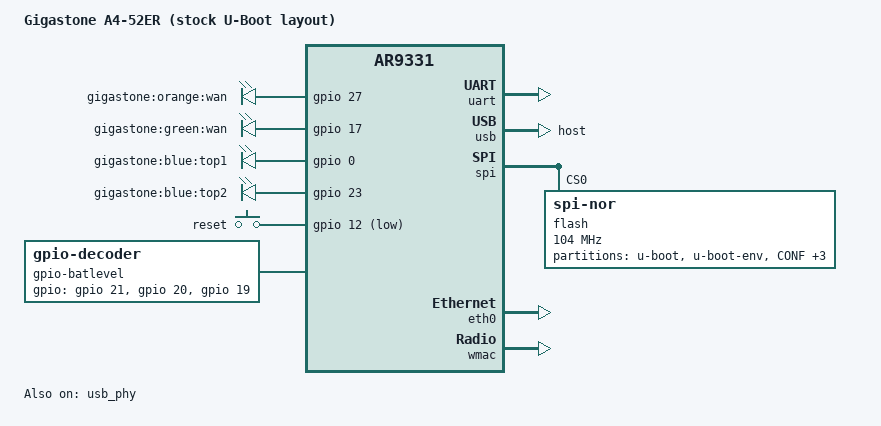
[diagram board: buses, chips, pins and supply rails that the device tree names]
// SPDX-License-Identifier: GPL-2.0-only
/dts-v1/;

#include "ar9331.dtsi"

#include <dt-bindings/gpio/gpio.h>
#include <dt-bindings/input/input.h>

/ {
	model = "Gigastone A4-52ER (stock U-Boot layout)";
	compatible = "gigastone,a4-52er-stock", "qca,ar9331";

	aliases {
		serial0 = &uart;
		led-boot = &system;
		led-failsafe = &system;
		led-running = &system;
		led-upgrade = &system;
		label-mac-device = &eth0;
	};

	leds {
		compatible = "gpio-leds";

		lan-org {
			label = "gigastone:orange:wan";
			gpios = <&gpio 27 GPIO_ACTIVE_HIGH>;
		};

		lan-grn {
			label = "gigastone:green:wan";
			gpios = <&gpio 17 GPIO_ACTIVE_HIGH>;
		};

		blue1 {
			label = "gigastone:blue:top1";
			gpios = <&gpio 0 GPIO_ACTIVE_HIGH>;
		};

		system: blue2 {
			label = "gigastone:blue:top2";
			gpios = <&gpio 23 GPIO_ACTIVE_HIGH>;
		};
	};

	keys {
		compatible = "gpio-keys";

		button0 {
			label = "reset";
			linux,code = <KEY_RESTART>;
			gpios = <&gpio 12 GPIO_ACTIVE_LOW>;
			debounce-interval = <60>;
		};
	};

	/*
	 * GPIO18 is the board-level soft-poweroff line. Driving it HIGH powers
	 * the device off immediately. Do NOT create a gpio-poweroff node here and
	 * do NOT drive GPIO18 at boot, or the board powers down as soon as it
	 * comes up. It is left intentionally unconfigured (the kernel never
	 * touches it). Soft-poweroff can still be issued later from userspace via
	 * the GPIO sysfs/character device if wanted.
	 */

	gpio-batlevel {
		compatible = "gpio-decoder";
		gpios = <&gpio 21 GPIO_ACTIVE_HIGH>,
			<&gpio 20 GPIO_ACTIVE_HIGH>,
			<&gpio 19 GPIO_ACTIVE_HIGH>;
	};
};

&ref {
	clock-frequency = <25000000>;
};

&uart {
	status = "okay";
};

&gpio {
	status = "okay";
};

&usb {
	dr_mode = "host";
	status = "okay";
};

&usb_phy {
	status = "okay";
};

&spi {
	num-chipselects = <1>;
	status = "okay";

	/* Spansion S25FL032PIF-class SPI NOR, 8 MiB total */
	flash@0 {
		compatible = "jedec,spi-nor";
		spi-max-frequency = <104000000>;
		reg = <0>;

		/*
		 * Stock Gigastone U-Boot layout (6 partitions). Unlike the
		 * pepe2k-uboot variant (ar9331_gigastone_a4-52er.dts), this
		 * keeps mtd0 (u-boot) exactly as shipped from the factory and
		 * never writes to it or to u-boot-env/CONF/NVRAM/art. Only
		 * "firmware" is ever touched by sysupgrade.
		 *
		 *   u-boot      0x000000  0x040000  (256K, read-only, factory U-Boot 1.1.4, holds MAC @0x1fc00)
		 *   u-boot-env  0x040000  0x010000  (64K, read-only, factory env, untouched)
		 *   CONF        0x050000  0x010000  (64K, read-only, factory config, untouched)
		 *   NVRAM       0x060000  0x010000  (64K, read-only, factory nvram, untouched)
		 *   firmware    0x070000  0x780000  (7680K, kernel+rootfs merged, denx,uimage so
		 *                                    stock U-Boot's standard bootm can load it)
		 *   art         0x7f0000  0x010000  (64K, WiFi calibration + MAC, read-only)
		 */
		partitions {
			compatible = "fixed-partitions";
			#address-cells = <1>;
			#size-cells = <1>;

			uboot: partition@0 {
				label = "u-boot";
				reg = <0x000000 0x040000>;
				read-only;

				nvmem-layout {
					compatible = "fixed-layout";
					#address-cells = <1>;
					#size-cells = <1>;

					macaddr_uboot_1fc00: macaddr@1fc00 {
						reg = <0x1fc00 0x6>;
					};
				};
			};

			partition@40000 {
				label = "u-boot-env";
				reg = <0x040000 0x010000>;
				read-only;
			};

			partition@50000 {
				label = "CONF";
				reg = <0x050000 0x010000>;
				read-only;
			};

			partition@60000 {
				label = "NVRAM";
				reg = <0x060000 0x010000>;
				read-only;
			};

			partition@70000 {
				compatible = "denx,uimage";
				label = "firmware";
				reg = <0x070000 0x780000>;
			};

			art: partition@7f0000 {
				label = "art";
				reg = <0x7f0000 0x010000>;
				read-only;

				nvmem-layout {
					compatible = "fixed-layout";
					#address-cells = <1>;
					#size-cells = <1>;

					cal_art_1000: calibration@1000 {
						reg = <0x1000 0x440>;
					};
				};
			};
		};
	};
};

&eth0 {
	status = "okay";

	nvmem-cells = <&macaddr_uboot_1fc00>;
	nvmem-cell-names = "mac-address";

	gmac-config {
		device = <&gmac>;

		switch-phy-addr-swap = <0>;
		switch-phy-swap = <0>;
	};
};

&eth1 {
	status = "okay";

	compatible = "syscon", "simple-mfd";
};

&wmac {
	status = "okay";

	nvmem-cells = <&macaddr_uboot_1fc00>, <&cal_art_1000>;
	nvmem-cell-names = "mac-address", "calibration";
};
